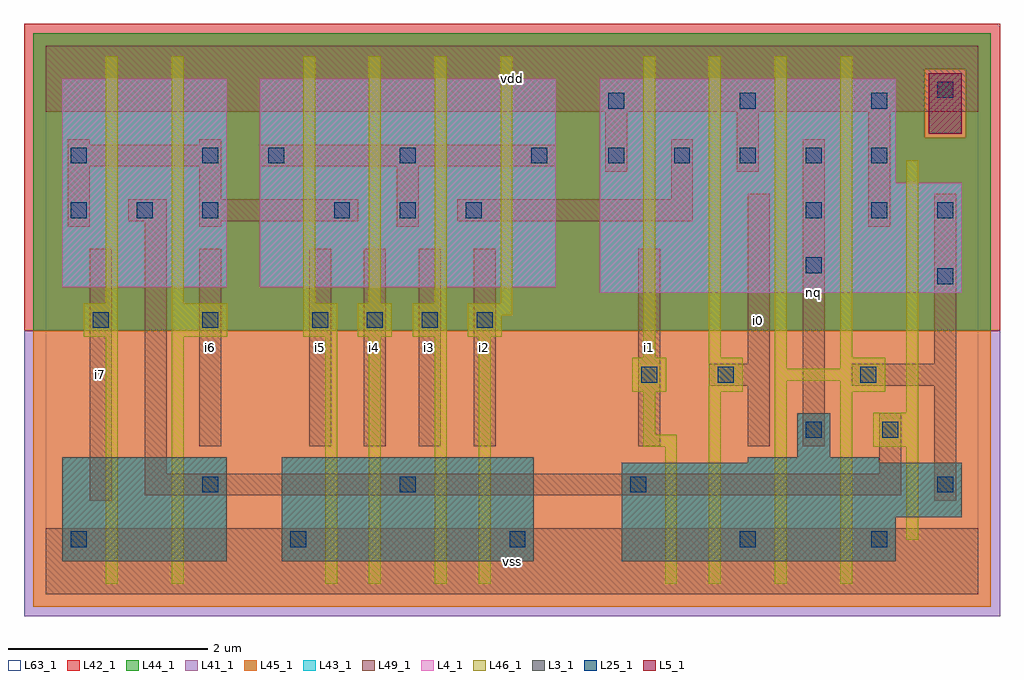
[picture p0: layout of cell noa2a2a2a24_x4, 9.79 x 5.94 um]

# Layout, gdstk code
import gdstk
lib = gdstk.Library(unit=1e-6, precision=1e-09)
def R(c, l, rs):  # rectangles x0, y0, x1, y1
    for r in rs: c.add(gdstk.rectangle(r[:2], r[2:], *l))
def A(c, l, x, y, w, h, nx, ny, dx, dy):  # array of equal rectangles
    R(c, l, [(x+i*dx, y+j*dy, x+i*dx+w, y+j*dy+h) for i in range(nx) for j in range(ny)])
L3_1 = (3, 1)
L4_1 = (4, 1)
L5_1 = (5, 1)
L25_1 = (25, 1)
L41_1 = (41, 1)
L42_1 = (42, 1)
L43_1 = (43, 1)
L44_1 = (44, 1)
L45_1 = (45, 1)
L46_1 = (46, 1)
L49_1 = (49, 1)
L63_1 = (63, 1)

noa2a2a2a24_x4 = lib.new_cell('noa2a2a2a24_x4')
R(noa2a2a2a24_x4, L3_1, [(0.165,0.33,1.815,1.375), (2.365,0.33,4.895,1.375), (5.775,0.33,8.525,0.77), (5.775,0.77,9.185,1.32), (7.04,1.32,8.36,1.375), (7.535,1.375,7.865,1.815)])
R(noa2a2a2a24_x4, L4_1, [(5.555,3.025,9.185,4.125), (0.165,3.08,1.815,5.17), (2.145,3.08,5.115,5.17), (5.555,4.125,8.525,5.17)])
R(noa2a2a2a24_x4, L5_1, [(8.855,4.62,9.185,5.225)])
A(noa2a2a2a24_x4, L25_1, 0.25, 0.47, 0.16, 0.16, 3, 1, 2.2, 0)
A(noa2a2a2a24_x4, L25_1, 0.47, 2.67, 0.16, 0.16, 3, 1, 1.1, 0)
A(noa2a2a2a24_x4, L25_1, 3.22, 2.67, 0.16, 0.16, 3, 1, 0.55, 0)
A(noa2a2a2a24_x4, L25_1, 0.25, 3.77, 0.16, 0.16, 3, 1, 0.66, 0)
A(noa2a2a2a24_x4, L25_1, 2.89, 3.77, 0.16, 0.16, 3, 1, 0.66, 0)
A(noa2a2a2a24_x4, L25_1, 7.62, 3.77, 0.16, 0.16, 3, 1, 0.66, 0)
A(noa2a2a2a24_x4, L25_1, 2.23, 4.32, 0.16, 0.16, 3, 1, 1.32, 0)
A(noa2a2a2a24_x4, L25_1, 5.64, 4.32, 0.16, 0.16, 5, 1, 0.66, 0)
A(noa2a2a2a24_x4, L25_1, 5.64, 4.87, 0.16, 0.16, 3, 1, 1.32, 0)
R(noa2a2a2a24_x4, L25_1, [(6.96,0.47,7.12,0.63), (8.28,0.47,8.44,0.63), (1.57,1.02,1.73,1.18), (3.55,1.02,3.71,1.18), (5.86,1.02,6.02,1.18), (8.94,1.02,9.1,1.18), (7.62,1.57,7.78,1.73), (8.39,1.57,8.55,1.73), (5.97,2.12,6.13,2.28), (6.74,2.12,6.9,2.28), (8.17,2.12,8.33,2.28), (8.94,3.11,9.1,3.27), (7.62,3.22,7.78,3.38), (0.25,4.32,0.41,4.48), (1.57,4.32,1.73,4.48), (8.94,4.98,9.1,5.14)])
R(noa2a2a2a24_x4, L41_1, [(-0.22,-0.22,9.57,2.64)])
R(noa2a2a2a24_x4, L42_1, [(-0.22,2.64,9.57,5.72)])
R(noa2a2a2a24_x4, L43_1, [(0.165,0.33,1.815,1.375), (2.365,0.33,4.895,1.375), (5.775,0.33,8.525,0.77), (5.775,0.77,9.185,1.32), (7.04,1.32,8.36,1.375), (7.535,1.375,7.865,1.815), (5.555,3.025,9.185,4.125), (0.165,3.08,1.815,5.17), (2.145,3.08,5.115,5.17), (5.555,4.125,8.525,5.17), (8.855,4.62,9.185,5.225)])
R(noa2a2a2a24_x4, L44_1, [(-0.125,2.64,9.475,4.58), (-0.125,4.58,8.815,5.265), (9.225,4.58,9.475,5.265), (-0.125,5.265,9.475,5.625)])
R(noa2a2a2a24_x4, L45_1, [(-0.125,-0.125,9.475,2.64), (8.815,4.58,9.225,5.265)])
A(noa2a2a2a24_x4, L46_1, 2.58, 2.58, 0.34, 0.34, 3, 1, 0.55, 0)
A(noa2a2a2a24_x4, L46_1, 2.58, 2.92, 0.12, 2.475, 4, 1, 0.66, 0)
R(noa2a2a2a24_x4, L46_1, [(0.6,0.105,0.72,2.58), (1.26,0.105,1.38,2.58), (2.8,0.105,2.92,2.58), (3.24,0.105,3.36,2.58), (3.9,0.105,4.02,2.58), (4.34,0.105,4.46,2.58), (6.21,0.105,6.33,1.48), (6.65,0.105,6.77,2.03), (7.31,0.105,7.43,2.14), (7.97,0.105,8.09,2.03), (8.63,0.545,8.75,1.48), (5.99,1.48,6.33,1.6), (8.3,1.48,8.75,1.82), (5.99,1.6,6.11,2.03), (8.63,1.82,8.75,4.35), (5.88,2.03,6.22,2.37), (6.65,2.03,6.99,2.37), (7.97,2.03,8.42,2.14), (7.31,2.14,8.42,2.26), (7.31,2.26,7.43,5.395), (7.97,2.26,8.42,2.37), (5.99,2.37,6.11,5.395), (6.65,2.37,6.77,5.395), (7.97,2.37,8.09,5.395), (0.38,2.58,0.72,2.92), (1.26,2.58,1.82,2.92), (4.23,2.58,4.57,2.8), (4.23,2.8,4.68,2.92), (0.6,2.92,0.72,5.395), (1.26,2.92,1.38,5.395)])
A(noa2a2a2a24_x4, L49_1, 2.64, 1.485, 0.22, 1.98, 4, 1, 0.55, 0)
R(noa2a2a2a24_x4, L49_1, [(0,0,9.35,0.66), (0.44,0.935,0.66,3.465), (8.91,0.935,9.13,2.09), (0.99,0.99,8.58,1.21), (0.99,1.21,1.21,3.74), (8.36,1.21,8.58,1.815), (1.54,1.485,1.76,3.465), (5.94,1.485,6.16,3.465), (7.04,1.485,7.26,2.09), (7.59,1.485,7.81,4.565), (6.655,2.09,7.26,2.31), (8.085,2.09,9.13,2.31), (7.04,2.31,7.26,4.015), (8.91,2.31,9.13,4.015), (0.22,3.685,0.44,4.29), (1.54,3.685,1.76,3.74), (3.52,3.685,3.74,4.29), (8.25,3.685,8.47,4.84), (0.825,3.74,1.21,3.96), (1.54,3.74,3.135,3.96), (4.125,3.74,6.49,3.96), (1.54,3.96,1.76,4.29), (6.27,3.96,6.49,4.565), (5.61,4.235,5.83,4.84), (6.93,4.235,7.15,4.84), (0.22,4.29,1.76,4.51), (2.145,4.29,5.115,4.51), (0.22,4.51,0.44,4.565), (1.54,4.51,1.76,4.565), (0,4.84,9.35,5.5)])
R(noa2a2a2a24_x4, L63_1, [(0,0,9.35,5.5)])
noa2a2a2a24_x4.add(gdstk.Label('i7', (0.55,2.2), layer=49, texttype=1))
noa2a2a2a24_x4.add(gdstk.Label('i6', (1.65,2.475), layer=49, texttype=1))
noa2a2a2a24_x4.add(gdstk.Label('i4', (3.3,2.475), layer=49, texttype=1))
noa2a2a2a24_x4.add(gdstk.Label('i5', (2.75,2.475), layer=49, texttype=1))
noa2a2a2a24_x4.add(gdstk.Label('vss', (4.675,0.33), layer=49, texttype=1))
noa2a2a2a24_x4.add(gdstk.Label('i3', (3.85,2.475), layer=49, texttype=1))
noa2a2a2a24_x4.add(gdstk.Label('i2', (4.4,2.475), layer=49, texttype=1))
noa2a2a2a24_x4.add(gdstk.Label('vdd', (4.675,5.17), layer=49, texttype=1))
noa2a2a2a24_x4.add(gdstk.Label('i1', (6.05,2.475), layer=49, texttype=1))
noa2a2a2a24_x4.add(gdstk.Label('i0', (7.15,2.75), layer=49, texttype=1))
noa2a2a2a24_x4.add(gdstk.Label('nq', (7.7,3.025), layer=49, texttype=1))

lib.write_gds('noa2a2a2a24_x4.gds')
